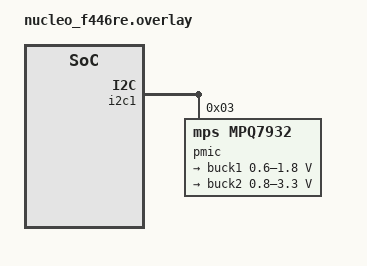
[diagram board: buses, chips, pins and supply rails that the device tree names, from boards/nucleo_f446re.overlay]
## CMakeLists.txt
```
cmake_minimum_required(VERSION 3.20.0)
find_package(Zephyr REQUIRED HINTS $ENV{ZEPHYR_BASE})
project(mpq_sample)
target_sources(app PRIVATE src/main.c)
```

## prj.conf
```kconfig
CONFIG_REGULATOR=y
CONFIG_I2C=y
CONFIG_SMBUS=y
CONFIG_REGULATOR_MPQ7932=y
CONFIG_LOG=y
```

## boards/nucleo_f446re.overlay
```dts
&i2c1 {
    status = "okay";

    pmic: pmic@3 {
        compatible = "mps,mpq7932";
        reg = <0x03>;
        #address-cells = <1>;
        #size-cells = <0>;
        status = "okay";

        buck1: buck1 {
            regulator-name = "buck1";
            regulator-page = <0>;
            regulator-min-microvolt = <600000>;
            regulator-max-microvolt = <1800000>;
            regulator-boot-on;
            status = "okay";
        };

        buck2: buck2 {
            regulator-name = "buck2";
            regulator-page = <1>;
            regulator-min-microvolt = <800000>;
            regulator-max-microvolt = <3300000>;
            status = "okay";
        };
    };
};
```

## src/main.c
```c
/*#include <zephyr/kernel.h>
#include <zephyr/device.h>
#include <zephyr/sys/printk.h>
#include "mpq7932.h"
//#include <zephyr/pmbus.h>

#define PMIC_NODE DT_NODELABEL(pmic0)
#define PMBUS_PAGE 0
#define VOUT_SET 1.2f

void main()
{
	printk("MPQ7932 PMBus Driver Test Start\n");

	const struct device *pmic = DEVICE_DT_GET(PMIC_NODE);

	if (!device_is_ready(pmic)) {
		printk("PMIC device not ready\n");
		return;
	}
	printk("PMIC device ready\n");
	const struct mpq7932_driver_api* vol = pmic->api;
	if(vol->set_vout(pmic, PMBUS_PAGE, true) == 0)
		printk("output is enabled");
}
	/*

	if (mpq7932_output_enable(pmic, PMBUS_PAGE, true) == 0) {
		printk(" Output enabled\n");
	} else {
		printk("Failed to enable output\n");
	}
	if (mpq7932_set_vout(pmic, PMBUS_PAGE, VOUT_SET) == 0) {
		printk("VOUT set to %.3f V\n", VOUT_SET);
	} else {
		printk("Failed to set VOUT\n");
	}

	if (mpq7932_clear_faults(pmic) == 0) {
		printk(" Faults cleared\n");
	} else {
		printk("Failed to clear faults\n");
	}
}*/


#include <zephyr/kernel.h>
#include <zephyr/device.h>
#include <zephyr/drivers/regulator.h>
#include <zephyr/sys/printk.h>

#define BUCK_NODE DT_NODELABEL(buck1)

int main(void)
{
    const struct device *buck = DEVICE_DT_GET(BUCK_NODE);
    if (!device_is_ready(buck)) {
        printk("Buck regulator not ready\n");
        return -EINVAL;
    }

    printk("Enabling buck1...\n");
    if (regulator_enable(buck) == 0) {
        printk(" Buck1 enabled\n");
    }

    printk("setting buck1 to 1.2V\n");
    if (regulator_set_voltage(buck, 1200000, 1200000) == 0) {
        printk(" Voltage set\n");
    }

    int32_t voltage;
    if (regulator_get_voltage(buck, &voltage) == 0) {
        printk("Voltage read: %d uV\n", voltage);
    }
    return 0;
}
```
